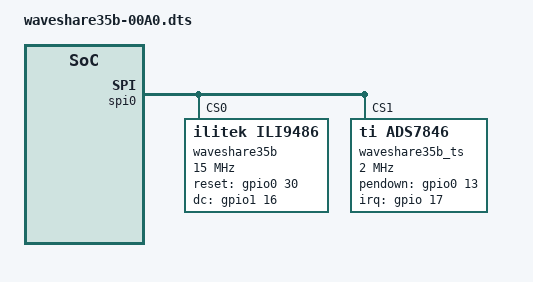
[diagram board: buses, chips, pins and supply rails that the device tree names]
/*
 * Based on waveshare35b-overlay.dts from
 * https://github.com/swkim01/waveshare-dtoverlays/blob/master/waveshare35b-overlay.dts
 * where it was posted without a license.
 *
 */

/dts-v1/;
/plugin/;

/ {
	compatible = "ti,beaglebone", "ti,beaglebone-black";

	/* identification */
	part-number = "waveshare35b";
	version = "00A0";


	fragment@0 {
		target = <&spi0>;
		__overlay__ {
			status = "okay";

			spidev@0 {
				status = "disabled";
			};

			spidev@1 {
				status = "disabled";
			};
		};
	};

	fragment@1 {
		target = <&am33xx_pinmux>;
		__overlay__ {
			waveshare35b_pins: waveshare35b_pins {
				pinctrl-single,pins = <
				        0x150 0x10      /* (PIN_OUTPUT_PULLUP | MUX_MODE0) spi0_sclk */
					0x158 0x30      /* (PIN_INPUT_PULLUP | MUX_MODE0)  spi0_d1 (input) */
					0x154 0x10      /* (PIN_OUTPUT_PULLUP | MUX_MODE0) spi0_d0 (output) */
					0x15c 0x10      /* (PIN_OUTPUT_PULLUP | MUX_MODE0) spi0_cs0 */
				>;
			};

			lcd_ctrl_pinmux: lcd_ctrl_pins {
				pinctrl-single,pins = <
					0x040 0x17	/* P9.15 gpio1_16  OUTPUT_PULLUP | MODE7 (DSP_DC) */
					0x074 0x17	/* P9.13 gpio0_30  OUTPUT_PULLUP | MODE7 (DSP_RESET) */
					0x17c 0x37	/* P9.19 gpio0_13  INPUT_PULLUP  | MODE7 (TP_IRQ) */
				>;
			};
		};
	};

	fragment@2 {
		target = <&spi0>;
		__overlay__ {
			/* needed to avoid dtc warning */
			#address-cells = <1>;
			#size-cells = <0>;

			waveshare35b: waveshare35b@0 {
				compatible = "ilitek,ili9486";
				reg = <0>;
				pinctrl-names = "default";
				pinctrl-0 = <&waveshare35b_pins>;

				spi-max-frequency = <15000000>;
				txbuflen = <32768>;
				rotate = <90>;
				bgr = <0>;
				fps = <30>;
				buswidth = <8>;
				regwidth = <16>;
				reset-gpios = <&gpio0 30 0>;
				dc-gpios = <&gpio1 16 0>;
				debug = <3>;

				init = <0x10000b0 0x0
				        0x1000011
				        0x20000ff
				        0x100003a 0x55
				        0x1000036 0x28
				        0x1000021
				        0x10000c0 0x9 0x9
				        0x10000c1 0x41 0x0
				        0x10000c5 0x0 0x36
				        0x10000e0 0x0 0x2c 0x2c 0xb 0xc 0x4 0x4c 0x64 0x36 0x3 0xe 0x1 0x10 0x1 0x0
				        0x10000e1 0xf 0x37 0x37 0xc 0xf 0x5 0x50 0x32 0x36 0x4 0xb 0x0 0x19 0x14 0xf
				        0x1000011
				        0x20000ff
				        0x1000029>;
			};

			waveshare35b_ts: waveshare35b-ts@1 {
				compatible = "ti,ads7846";
				reg = <1>;

				spi-max-frequency = <2000000>;
				interrupts = <17 2>; /* high-to-low edge triggered */
				interrupt-parent = <&gpio>;
				pendown-gpio = <&gpio0 13 0>;
				ti,x-plate-ohms = /bits/ 16 <60>;
				ti,pressure-max = /bits/ 16 <255>;
			};
		};
	};
	__overrides__ {
		speed =		<&waveshare35b>,"spi-max-frequency:0";
		txbuflen =	<&waveshare35b>,"txbuflen:0";
		rotate =	<&waveshare35b>,"rotate:0";
		fps =		<&waveshare35b>,"fps:0";
		bgr =		<&waveshare35b>,"bgr:0";
		debug =		<&waveshare35b>,"debug:0";
		swapxy =	<&waveshare35b_ts>,"ti,swap-xy?";
	};
};
